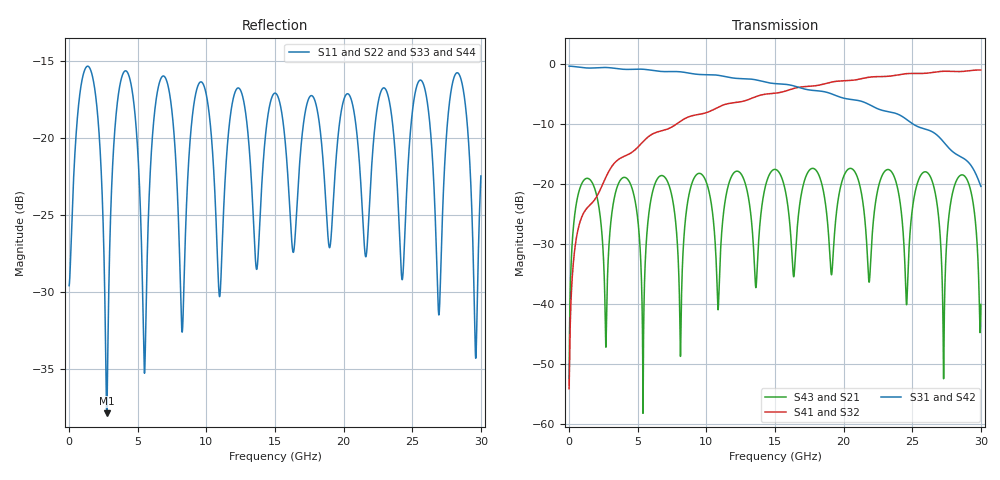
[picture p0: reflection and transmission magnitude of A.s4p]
!diffpair-meanders A (straight reference, the U-bend's mean length), mesh medium
!ports 1 P_near 2 N_near 3 P_far 4 N_far; openEMS FDTD, lumped 50 ohm ports
# Hz S RI R 50.0
! Port[1] = P_near
! Port[2] = N_near
! Port[3] = P_far
! Port[4] = N_far
!freq ReS11 ImS11 ReS12 ImS12 ReS13 ImS13
! ReS14 ImS14
! ReS21 ImS21 ReS22 ImS22 ReS23 ImS23
! ReS24 ImS24
! ReS31 ImS31 ReS32 ImS32 ReS33 ImS33
! ReS34 ImS34
! ReS41 ImS41 ReS42 ImS42 ReS43 ImS43
! ReS44 ImS44
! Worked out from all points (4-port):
!   3000 points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, 10 MHz to 30 GHz, reference 50 ohm
!   strongest paths, dB at 10 MHz, 7.51 GHz, 15.01 GHz, 22.51 GHz, 30 GHz:
!     S31: -0.4, -1.3, -3.3, -7.5, -20.4
!     S42: -0.4, -1.3, -3.3, -7.5, -20.4
!     S41: -54.2, -10.5, -4.9, -2.1, -1.0
!     S32: -54.2, -10.5, -4.9, -2.1, -1.0
!     S43: -53.6, -22.2, -17.6, -20.8, -40.1
!     S21: -53.6, -22.2, -17.6, -20.8, -40.1
!   lowest |S11| = -37.9 dB at 2.75 GHz (marker M1), VSWR 1.03, Z = 51.3 + j0.0855 ohm
!   |S11| at or under -10 dB: start of sweep to end of sweep
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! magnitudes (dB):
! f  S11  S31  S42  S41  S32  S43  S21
! 10 MHz  -29.6  -0.4  -0.4  -54.2  -54.2  -53.6  -53.6
! 1.08 GHz  -15.7  -0.7  -0.7  -24.8  -24.8  -19.4  -19.4
! 2.75 GHz  -37.9  -0.6  -0.6  -18.6  -18.6  -40.4  -40.4
! 3.94 GHz  -15.8  -0.9  -0.9  -15.5  -15.5  -19.0  -19.0
! 5.39 GHz  -31.3  -0.9  -0.9  -13.0  -13.0  -58.3  -58.3
! 23.24 GHz  -17.2  -8.0  -8.0  -2.1  -2.1  -17.6  -17.6
! 30 GHz  -22.4  -20.4  -20.4  -1.0  -1.0  -40.1  -40.1
